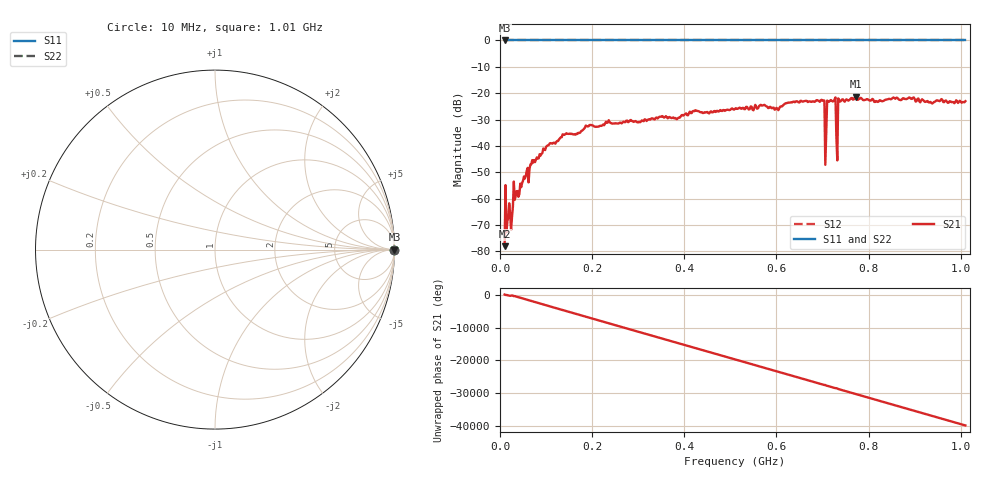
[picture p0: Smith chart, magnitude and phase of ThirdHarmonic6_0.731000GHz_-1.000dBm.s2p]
! 8/16/2025 12:27:49 AM
! C:\ANRITSUVNA\TEMP\TEMP.S2P
! CHANNEL.1
! TR.MEASUREMENT
! RAW.DATA
! RF.CORRECTION.OFF
! AVERAGING.OFF
! IF.BANDWIDTH: 5KHZ
! SWEEPTYPE:  FREQ.SWEEP(Linear)
! Reference Plane Port Info
! PORT:  PORT1  PORT2
! DISTANCE:  0  m  0  m
! TIME:  0  s  0  s
! PHASE.OFFSET:  0  deg.  0  deg.
! LOSS:  0  dB  0  dB
! REF.LOSS:  0  dB  0  dB
! REF.FREQ:  0  Hz  0  Hz
! Power Info
! POWER:  -20  dBm  -20  dBm
! EFF.POWER:  -20  dBm  -20  dBm
! SOURCE.ATTEN:  0  dB  0  dB
! TEST.ATTEN:  0  dB  0  dB
# GHZ S RI R 50.0
! FREQ.GHZ  S11RE  S11IM  S21RE  S21IM  S12RE  S12IM  S22RE  S22IM
!; PortSelection: Port_12
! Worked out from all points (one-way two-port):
!   501 points, 10 MHz to 1.01 GHz, reference 50 ohm
!   highest |S21| = -21.34 dB at 772 MHz (marker M1); lowest = -78.0 dB at 10 MHz (marker M2)
!   lowest |S11| = 0.0 dB at 10 MHz (marker M3)
!   |S11| at or under -10 dB: nowhere
!   |S22| runs from 0.0 to 0.0 dB; largest |S21 - S12| = 1.1
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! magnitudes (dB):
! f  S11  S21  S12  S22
! 10 MHz  0.0  -78.0  0.0  0.0
! 16 MHz  0.0  -68.5  0.0  0.0
! 22 MHz  0.0  -65.8  0.0  0.0
! 34 MHz  0.0  -59.1  0.0  0.0
! 44 MHz  0.0  -54.3  0.0  0.0
! 70 MHz  0.0  -45.4  0.0  0.0
! 140 MHz  0.0  -35.8  0.0  0.0
! 178 MHz  0.0  -34.2  0.0  0.0
! 344 MHz  0.0  -29.2  0.0  0.0
! 510 MHz  0.0  -25.9  0.0  0.0
! 678 MHz  0.0  -23.1  0.0  0.0
! 700 MHz  0.0  -22.9  0.0  0.0
! 704 MHz  0.0  -22.8  0.0  0.0
! 710 MHz  0.0  -22.8  0.0  0.0
! 714 MHz  0.0  -23.2  0.0  0.0
! 724 MHz  0.0  -23.0  0.0  0.0
! 728 MHz  0.0  -21.6  0.0  0.0
! 734 MHz  0.0  -22.0  0.0  0.0
! 738 MHz  0.0  -23.2  0.0  0.0
! 772 MHz  0.0  -21.3  0.0  0.0
! 844 MHz  0.0  -22.1  0.0  0.0
! 1.01 GHz  0.0  -23.0  0.0  0.0
